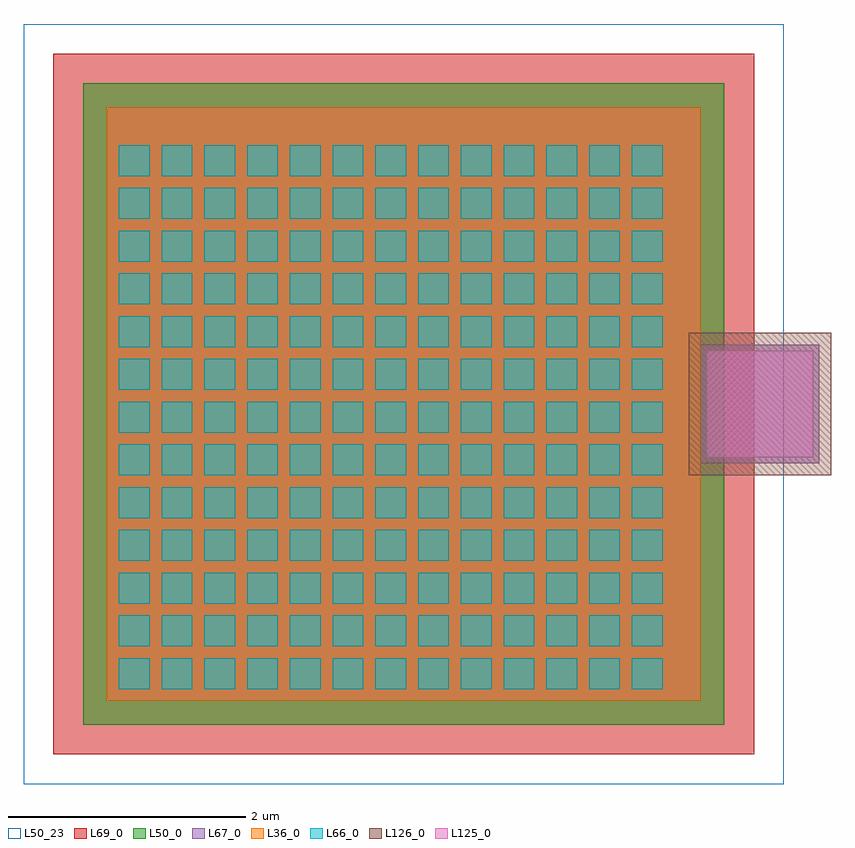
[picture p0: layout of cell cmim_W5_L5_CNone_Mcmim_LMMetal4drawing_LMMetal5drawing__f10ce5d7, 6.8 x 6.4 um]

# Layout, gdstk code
import gdstk
lib = gdstk.Library(unit=1e-6, precision=1e-09)
def R(c, l, rs):  # rectangles x0, y0, x1, y1
    for r in rs: c.add(gdstk.rectangle(r[:2], r[2:], *l))
L36_0 = (36, 0)
L50_0 = (50, 0)
L50_23 = (50, 23)
L66_0 = (66, 0)
L67_0 = (67, 0)
L69_0 = (69, 0)
L125_0 = (125, 0)
L126_0 = (126, 0)

rectangle_gdsfactorypcom = lib.new_cell('rectangle_gdsfactorypcomponentspshapesprectangle_S5p4_5_b63a100d')
R(rectangle_gdsfactorypcom, L50_0, [(-2.7,-2.7,2.7,2.7)])

c_rectangle_gdsfactorypcom = lib.new_cell('rectangle_gdsfactorypcomponentspshapesprectangle_S5_5_L_ae2a6a6b')
R(c_rectangle_gdsfactorypcom, L36_0, [(-2.5,-2.5,2.5,2.5)])

c_rectangle_gdsfactorypcom_ = lib.new_cell('rectangle_gdsfactorypcomponentspshapesprectangle_S5_5_L_c7f514b2')
R(c_rectangle_gdsfactorypcom_, L67_0, [(-2.5,-2.5,2.5,2.5)])

c_rectangle_gdsfactorypcom__ = lib.new_cell('rectangle_gdsfactorypcomponentspshapesprectangle_S0p26__4a819c78')
R(c_rectangle_gdsfactorypcom__, L66_0, [(-0.13,-0.13,0.13,0.13)])

c_rectangle_gdsfactorypcom___ = lib.new_cell('rectangle_gdsfactorypcomponentspshapesprectangle_S1p2_1_8ba3885d')
R(c_rectangle_gdsfactorypcom___, L50_0, [(0,0,1.2,1)])

c_rectangle_gdsfactorypcom____ = lib.new_cell('rectangle_gdsfactorypcomponentspshapesprectangle_S1_1_L_4ec315f6')
R(c_rectangle_gdsfactorypcom____, L67_0, [(0,0,1,1)])

c_rectangle_gdsfactorypcom_____ = lib.new_cell('rectangle_gdsfactorypcomponentspshapesprectangle_S0p9_0_580d79c8')
R(c_rectangle_gdsfactorypcom_____, L125_0, [(-0.45,-0.45,0.45,0.45)])

c_rectangle_gdsfactorypcom______ = lib.new_cell('rectangle_gdsfactorypcomponentspshapesprectangle_S1p2_1_e088ba0d')
R(c_rectangle_gdsfactorypcom______, L126_0, [(-0.6,-0.6,0.6,0.6)])

c_rectangle_gdsfactorypcom_______ = lib.new_cell('rectangle_gdsfactorypcomponentspshapesprectangle_S5p9_5_d3bec335')
R(c_rectangle_gdsfactorypcom_______, L69_0, [(-2.95,-2.95,2.95,2.95)])

c_rectangle_gdsfactorypcom________ = lib.new_cell('rectangle_gdsfactorypcomponentspshapesprectangle_S6p4_6_ee191b5b')
R(c_rectangle_gdsfactorypcom________, L50_23, [(-3.2,-3.2,3.2,3.2)])

cmim_w5_l5_cnone_mcmim_l = lib.new_cell('cmim_W5_L5_CNone_Mcmim_LMMetal4drawing_LMMetal5drawing__f10ce5d7')
cmim_w5_l5_cnone_mcmim_l.add(gdstk.Reference(rectangle_gdsfactorypcom, (0,0)))
cmim_w5_l5_cnone_mcmim_l.add(gdstk.Reference(c_rectangle_gdsfactorypcom, (0,0)))
cmim_w5_l5_cnone_mcmim_l.add(gdstk.Reference(c_rectangle_gdsfactorypcom_, (0,0)))
cmim_w5_l5_cnone_mcmim_l.add(gdstk.Reference(c_rectangle_gdsfactorypcom__, (-2.27,-0.11)))
cmim_w5_l5_cnone_mcmim_l.add(gdstk.Reference(c_rectangle_gdsfactorypcom__, (-1.91,-0.11)))
cmim_w5_l5_cnone_mcmim_l.add(gdstk.Reference(c_rectangle_gdsfactorypcom__, (-1.55,-0.11)))
cmim_w5_l5_cnone_mcmim_l.add(gdstk.Reference(c_rectangle_gdsfactorypcom__, (-1.19,-0.11)))
cmim_w5_l5_cnone_mcmim_l.add(gdstk.Reference(c_rectangle_gdsfactorypcom__, (-0.83,-0.11)))
cmim_w5_l5_cnone_mcmim_l.add(gdstk.Reference(c_rectangle_gdsfactorypcom__, (-0.47,-0.11)))
cmim_w5_l5_cnone_mcmim_l.add(gdstk.Reference(c_rectangle_gdsfactorypcom__, (-0.11,-0.11)))
cmim_w5_l5_cnone_mcmim_l.add(gdstk.Reference(c_rectangle_gdsfactorypcom__, (0.25,-2.27)))
cmim_w5_l5_cnone_mcmim_l.add(gdstk.Reference(c_rectangle_gdsfactorypcom__, (0.25,-1.91)))
cmim_w5_l5_cnone_mcmim_l.add(gdstk.Reference(c_rectangle_gdsfactorypcom__, (0.25,-1.55)))
cmim_w5_l5_cnone_mcmim_l.add(gdstk.Reference(c_rectangle_gdsfactorypcom__, (0.25,-1.19)))
cmim_w5_l5_cnone_mcmim_l.add(gdstk.Reference(c_rectangle_gdsfactorypcom__, (0.25,-0.83)))
cmim_w5_l5_cnone_mcmim_l.add(gdstk.Reference(c_rectangle_gdsfactorypcom__, (0.25,-0.47)))
cmim_w5_l5_cnone_mcmim_l.add(gdstk.Reference(c_rectangle_gdsfactorypcom__, (0.25,-0.11)))
cmim_w5_l5_cnone_mcmim_l.add(gdstk.Reference(c_rectangle_gdsfactorypcom__, (0.25,0.25)))
cmim_w5_l5_cnone_mcmim_l.add(gdstk.Reference(c_rectangle_gdsfactorypcom__, (0.25,0.61)))
cmim_w5_l5_cnone_mcmim_l.add(gdstk.Reference(c_rectangle_gdsfactorypcom__, (0.25,0.97)))
cmim_w5_l5_cnone_mcmim_l.add(gdstk.Reference(c_rectangle_gdsfactorypcom__, (0.25,1.33)))
cmim_w5_l5_cnone_mcmim_l.add(gdstk.Reference(c_rectangle_gdsfactorypcom__, (0.25,1.69)))
cmim_w5_l5_cnone_mcmim_l.add(gdstk.Reference(c_rectangle_gdsfactorypcom__, (0.25,2.05)))
cmim_w5_l5_cnone_mcmim_l.add(gdstk.Reference(c_rectangle_gdsfactorypcom__, (0.61,-0.11)))
cmim_w5_l5_cnone_mcmim_l.add(gdstk.Reference(c_rectangle_gdsfactorypcom__, (0.97,-0.11)))
cmim_w5_l5_cnone_mcmim_l.add(gdstk.Reference(c_rectangle_gdsfactorypcom__, (1.33,-0.11)))
cmim_w5_l5_cnone_mcmim_l.add(gdstk.Reference(c_rectangle_gdsfactorypcom__, (1.69,-0.11)))
cmim_w5_l5_cnone_mcmim_l.add(gdstk.Reference(c_rectangle_gdsfactorypcom__, (2.05,-0.11)))
cmim_w5_l5_cnone_mcmim_l.add(gdstk.Reference(c_rectangle_gdsfactorypcom___, (-2.7,-0.5)))
cmim_w5_l5_cnone_mcmim_l.add(gdstk.Reference(c_rectangle_gdsfactorypcom____, (2.5,-0.5)))
cmim_w5_l5_cnone_mcmim_l.add(gdstk.Reference(c_rectangle_gdsfactorypcom_____, (3,0)))
cmim_w5_l5_cnone_mcmim_l.add(gdstk.Reference(c_rectangle_gdsfactorypcom______, (3,0)))
cmim_w5_l5_cnone_mcmim_l.add(gdstk.Reference(c_rectangle_gdsfactorypcom_______, (0,0)))
cmim_w5_l5_cnone_mcmim_l.add(gdstk.Reference(c_rectangle_gdsfactorypcom________, (0,0)))
cmim_w5_l5_cnone_mcmim_l.add(gdstk.Reference(c_rectangle_gdsfactorypcom__, (0.97,1.33)))
cmim_w5_l5_cnone_mcmim_l.add(gdstk.Reference(c_rectangle_gdsfactorypcom__, (0.97,1.69)))
cmim_w5_l5_cnone_mcmim_l.add(gdstk.Reference(c_rectangle_gdsfactorypcom__, (0.97,2.05)))
cmim_w5_l5_cnone_mcmim_l.add(gdstk.Reference(c_rectangle_gdsfactorypcom__, (0.61,0.61)))
cmim_w5_l5_cnone_mcmim_l.add(gdstk.Reference(c_rectangle_gdsfactorypcom__, (1.33,0.25)))
cmim_w5_l5_cnone_mcmim_l.add(gdstk.Reference(c_rectangle_gdsfactorypcom__, (1.33,0.61)))
cmim_w5_l5_cnone_mcmim_l.add(gdstk.Reference(c_rectangle_gdsfactorypcom__, (1.33,0.97)))
cmim_w5_l5_cnone_mcmim_l.add(gdstk.Reference(c_rectangle_gdsfactorypcom__, (1.33,1.33)))
cmim_w5_l5_cnone_mcmim_l.add(gdstk.Reference(c_rectangle_gdsfactorypcom__, (1.33,1.69)))
cmim_w5_l5_cnone_mcmim_l.add(gdstk.Reference(c_rectangle_gdsfactorypcom__, (1.33,2.05)))
cmim_w5_l5_cnone_mcmim_l.add(gdstk.Reference(c_rectangle_gdsfactorypcom__, (0.61,0.97)))
cmim_w5_l5_cnone_mcmim_l.add(gdstk.Reference(c_rectangle_gdsfactorypcom__, (1.69,0.25)))
cmim_w5_l5_cnone_mcmim_l.add(gdstk.Reference(c_rectangle_gdsfactorypcom__, (1.69,0.61)))
cmim_w5_l5_cnone_mcmim_l.add(gdstk.Reference(c_rectangle_gdsfactorypcom__, (1.69,0.97)))
cmim_w5_l5_cnone_mcmim_l.add(gdstk.Reference(c_rectangle_gdsfactorypcom__, (1.69,1.33)))
cmim_w5_l5_cnone_mcmim_l.add(gdstk.Reference(c_rectangle_gdsfactorypcom__, (1.69,1.69)))
cmim_w5_l5_cnone_mcmim_l.add(gdstk.Reference(c_rectangle_gdsfactorypcom__, (1.69,2.05)))
cmim_w5_l5_cnone_mcmim_l.add(gdstk.Reference(c_rectangle_gdsfactorypcom__, (0.61,1.33)))
cmim_w5_l5_cnone_mcmim_l.add(gdstk.Reference(c_rectangle_gdsfactorypcom__, (2.05,0.25)))
cmim_w5_l5_cnone_mcmim_l.add(gdstk.Reference(c_rectangle_gdsfactorypcom__, (2.05,0.61)))
cmim_w5_l5_cnone_mcmim_l.add(gdstk.Reference(c_rectangle_gdsfactorypcom__, (2.05,0.97)))
cmim_w5_l5_cnone_mcmim_l.add(gdstk.Reference(c_rectangle_gdsfactorypcom__, (2.05,1.33)))
cmim_w5_l5_cnone_mcmim_l.add(gdstk.Reference(c_rectangle_gdsfactorypcom__, (2.05,1.69)))
cmim_w5_l5_cnone_mcmim_l.add(gdstk.Reference(c_rectangle_gdsfactorypcom__, (2.05,2.05)))
cmim_w5_l5_cnone_mcmim_l.add(gdstk.Reference(c_rectangle_gdsfactorypcom__, (0.61,1.69)))
cmim_w5_l5_cnone_mcmim_l.add(gdstk.Reference(c_rectangle_gdsfactorypcom__, (0.61,2.05)))
cmim_w5_l5_cnone_mcmim_l.add(gdstk.Reference(c_rectangle_gdsfactorypcom__, (0.61,0.25)))
cmim_w5_l5_cnone_mcmim_l.add(gdstk.Reference(c_rectangle_gdsfactorypcom__, (0.97,0.25)))
cmim_w5_l5_cnone_mcmim_l.add(gdstk.Reference(c_rectangle_gdsfactorypcom__, (0.97,0.61)))
cmim_w5_l5_cnone_mcmim_l.add(gdstk.Reference(c_rectangle_gdsfactorypcom__, (0.97,0.97)))
cmim_w5_l5_cnone_mcmim_l.add(gdstk.Reference(c_rectangle_gdsfactorypcom__, (-1.55,1.69)))
cmim_w5_l5_cnone_mcmim_l.add(gdstk.Reference(c_rectangle_gdsfactorypcom__, (-1.55,2.05)))
cmim_w5_l5_cnone_mcmim_l.add(gdstk.Reference(c_rectangle_gdsfactorypcom__, (-2.27,0.97)))
cmim_w5_l5_cnone_mcmim_l.add(gdstk.Reference(c_rectangle_gdsfactorypcom__, (-1.19,0.25)))
cmim_w5_l5_cnone_mcmim_l.add(gdstk.Reference(c_rectangle_gdsfactorypcom__, (-1.19,0.61)))
cmim_w5_l5_cnone_mcmim_l.add(gdstk.Reference(c_rectangle_gdsfactorypcom__, (-1.19,0.97)))
cmim_w5_l5_cnone_mcmim_l.add(gdstk.Reference(c_rectangle_gdsfactorypcom__, (-1.19,1.33)))
cmim_w5_l5_cnone_mcmim_l.add(gdstk.Reference(c_rectangle_gdsfactorypcom__, (-1.19,1.69)))
cmim_w5_l5_cnone_mcmim_l.add(gdstk.Reference(c_rectangle_gdsfactorypcom__, (-1.19,2.05)))
cmim_w5_l5_cnone_mcmim_l.add(gdstk.Reference(c_rectangle_gdsfactorypcom__, (-2.27,1.33)))
cmim_w5_l5_cnone_mcmim_l.add(gdstk.Reference(c_rectangle_gdsfactorypcom__, (-0.83,0.25)))
cmim_w5_l5_cnone_mcmim_l.add(gdstk.Reference(c_rectangle_gdsfactorypcom__, (-0.83,0.61)))
cmim_w5_l5_cnone_mcmim_l.add(gdstk.Reference(c_rectangle_gdsfactorypcom__, (-0.83,0.97)))
cmim_w5_l5_cnone_mcmim_l.add(gdstk.Reference(c_rectangle_gdsfactorypcom__, (-0.83,1.33)))
cmim_w5_l5_cnone_mcmim_l.add(gdstk.Reference(c_rectangle_gdsfactorypcom__, (-0.83,1.69)))
cmim_w5_l5_cnone_mcmim_l.add(gdstk.Reference(c_rectangle_gdsfactorypcom__, (-0.83,2.05)))
cmim_w5_l5_cnone_mcmim_l.add(gdstk.Reference(c_rectangle_gdsfactorypcom__, (-2.27,1.69)))
cmim_w5_l5_cnone_mcmim_l.add(gdstk.Reference(c_rectangle_gdsfactorypcom__, (-0.47,0.25)))
cmim_w5_l5_cnone_mcmim_l.add(gdstk.Reference(c_rectangle_gdsfactorypcom__, (-0.47,0.61)))
cmim_w5_l5_cnone_mcmim_l.add(gdstk.Reference(c_rectangle_gdsfactorypcom__, (-0.47,0.97)))
cmim_w5_l5_cnone_mcmim_l.add(gdstk.Reference(c_rectangle_gdsfactorypcom__, (-0.47,1.33)))
cmim_w5_l5_cnone_mcmim_l.add(gdstk.Reference(c_rectangle_gdsfactorypcom__, (-0.47,1.69)))
cmim_w5_l5_cnone_mcmim_l.add(gdstk.Reference(c_rectangle_gdsfactorypcom__, (-0.47,2.05)))
cmim_w5_l5_cnone_mcmim_l.add(gdstk.Reference(c_rectangle_gdsfactorypcom__, (-2.27,2.05)))
cmim_w5_l5_cnone_mcmim_l.add(gdstk.Reference(c_rectangle_gdsfactorypcom__, (-0.11,0.25)))
cmim_w5_l5_cnone_mcmim_l.add(gdstk.Reference(c_rectangle_gdsfactorypcom__, (-0.11,0.61)))
cmim_w5_l5_cnone_mcmim_l.add(gdstk.Reference(c_rectangle_gdsfactorypcom__, (-0.11,0.97)))
cmim_w5_l5_cnone_mcmim_l.add(gdstk.Reference(c_rectangle_gdsfactorypcom__, (-0.11,1.33)))
cmim_w5_l5_cnone_mcmim_l.add(gdstk.Reference(c_rectangle_gdsfactorypcom__, (-0.11,1.69)))
cmim_w5_l5_cnone_mcmim_l.add(gdstk.Reference(c_rectangle_gdsfactorypcom__, (-0.11,2.05)))
cmim_w5_l5_cnone_mcmim_l.add(gdstk.Reference(c_rectangle_gdsfactorypcom__, (-2.27,0.25)))
cmim_w5_l5_cnone_mcmim_l.add(gdstk.Reference(c_rectangle_gdsfactorypcom__, (-1.91,0.25)))
cmim_w5_l5_cnone_mcmim_l.add(gdstk.Reference(c_rectangle_gdsfactorypcom__, (-1.91,0.61)))
cmim_w5_l5_cnone_mcmim_l.add(gdstk.Reference(c_rectangle_gdsfactorypcom__, (-1.91,0.97)))
cmim_w5_l5_cnone_mcmim_l.add(gdstk.Reference(c_rectangle_gdsfactorypcom__, (-1.91,1.33)))
cmim_w5_l5_cnone_mcmim_l.add(gdstk.Reference(c_rectangle_gdsfactorypcom__, (-1.91,1.69)))
cmim_w5_l5_cnone_mcmim_l.add(gdstk.Reference(c_rectangle_gdsfactorypcom__, (-1.91,2.05)))
cmim_w5_l5_cnone_mcmim_l.add(gdstk.Reference(c_rectangle_gdsfactorypcom__, (-2.27,0.61)))
cmim_w5_l5_cnone_mcmim_l.add(gdstk.Reference(c_rectangle_gdsfactorypcom__, (-1.55,0.25)))
cmim_w5_l5_cnone_mcmim_l.add(gdstk.Reference(c_rectangle_gdsfactorypcom__, (-1.55,0.61)))
cmim_w5_l5_cnone_mcmim_l.add(gdstk.Reference(c_rectangle_gdsfactorypcom__, (-1.55,0.97)))
cmim_w5_l5_cnone_mcmim_l.add(gdstk.Reference(c_rectangle_gdsfactorypcom__, (-1.55,1.33)))
cmim_w5_l5_cnone_mcmim_l.add(gdstk.Reference(c_rectangle_gdsfactorypcom__, (-1.55,-0.47)))
cmim_w5_l5_cnone_mcmim_l.add(gdstk.Reference(c_rectangle_gdsfactorypcom__, (-1.91,-1.91)))
cmim_w5_l5_cnone_mcmim_l.add(gdstk.Reference(c_rectangle_gdsfactorypcom__, (-1.91,-1.55)))
cmim_w5_l5_cnone_mcmim_l.add(gdstk.Reference(c_rectangle_gdsfactorypcom__, (-1.91,-1.19)))
cmim_w5_l5_cnone_mcmim_l.add(gdstk.Reference(c_rectangle_gdsfactorypcom__, (-0.47,-2.27)))
cmim_w5_l5_cnone_mcmim_l.add(gdstk.Reference(c_rectangle_gdsfactorypcom__, (-0.47,-1.91)))
cmim_w5_l5_cnone_mcmim_l.add(gdstk.Reference(c_rectangle_gdsfactorypcom__, (-0.47,-1.55)))
cmim_w5_l5_cnone_mcmim_l.add(gdstk.Reference(c_rectangle_gdsfactorypcom__, (-0.47,-1.19)))
cmim_w5_l5_cnone_mcmim_l.add(gdstk.Reference(c_rectangle_gdsfactorypcom__, (-0.47,-0.83)))
cmim_w5_l5_cnone_mcmim_l.add(gdstk.Reference(c_rectangle_gdsfactorypcom__, (-0.47,-0.47)))
cmim_w5_l5_cnone_mcmim_l.add(gdstk.Reference(c_rectangle_gdsfactorypcom__, (-1.91,-0.83)))
cmim_w5_l5_cnone_mcmim_l.add(gdstk.Reference(c_rectangle_gdsfactorypcom__, (-1.91,-0.47)))
cmim_w5_l5_cnone_mcmim_l.add(gdstk.Reference(c_rectangle_gdsfactorypcom__, (-2.27,-1.91)))
cmim_w5_l5_cnone_mcmim_l.add(gdstk.Reference(c_rectangle_gdsfactorypcom__, (-2.27,-1.55)))
cmim_w5_l5_cnone_mcmim_l.add(gdstk.Reference(c_rectangle_gdsfactorypcom__, (-1.19,-2.27)))
cmim_w5_l5_cnone_mcmim_l.add(gdstk.Reference(c_rectangle_gdsfactorypcom__, (-1.19,-1.91)))
cmim_w5_l5_cnone_mcmim_l.add(gdstk.Reference(c_rectangle_gdsfactorypcom__, (-1.19,-1.55)))
cmim_w5_l5_cnone_mcmim_l.add(gdstk.Reference(c_rectangle_gdsfactorypcom__, (-0.11,-2.27)))
cmim_w5_l5_cnone_mcmim_l.add(gdstk.Reference(c_rectangle_gdsfactorypcom__, (-0.11,-1.91)))
cmim_w5_l5_cnone_mcmim_l.add(gdstk.Reference(c_rectangle_gdsfactorypcom__, (-0.11,-1.55)))
cmim_w5_l5_cnone_mcmim_l.add(gdstk.Reference(c_rectangle_gdsfactorypcom__, (-0.11,-1.19)))
cmim_w5_l5_cnone_mcmim_l.add(gdstk.Reference(c_rectangle_gdsfactorypcom__, (-0.11,-0.83)))
cmim_w5_l5_cnone_mcmim_l.add(gdstk.Reference(c_rectangle_gdsfactorypcom__, (-0.11,-0.47)))
cmim_w5_l5_cnone_mcmim_l.add(gdstk.Reference(c_rectangle_gdsfactorypcom__, (-1.19,-1.19)))
cmim_w5_l5_cnone_mcmim_l.add(gdstk.Reference(c_rectangle_gdsfactorypcom__, (-1.19,-0.83)))
cmim_w5_l5_cnone_mcmim_l.add(gdstk.Reference(c_rectangle_gdsfactorypcom__, (-1.19,-0.47)))
cmim_w5_l5_cnone_mcmim_l.add(gdstk.Reference(c_rectangle_gdsfactorypcom__, (-2.27,-1.19)))
cmim_w5_l5_cnone_mcmim_l.add(gdstk.Reference(c_rectangle_gdsfactorypcom__, (-2.27,-0.83)))
cmim_w5_l5_cnone_mcmim_l.add(gdstk.Reference(c_rectangle_gdsfactorypcom__, (-2.27,-0.47)))
cmim_w5_l5_cnone_mcmim_l.add(gdstk.Reference(c_rectangle_gdsfactorypcom__, (-2.27,-2.27)))
cmim_w5_l5_cnone_mcmim_l.add(gdstk.Reference(c_rectangle_gdsfactorypcom__, (-1.91,-2.27)))
cmim_w5_l5_cnone_mcmim_l.add(gdstk.Reference(c_rectangle_gdsfactorypcom__, (-1.55,-2.27)))
cmim_w5_l5_cnone_mcmim_l.add(gdstk.Reference(c_rectangle_gdsfactorypcom__, (-1.55,-1.91)))
cmim_w5_l5_cnone_mcmim_l.add(gdstk.Reference(c_rectangle_gdsfactorypcom__, (-0.83,-2.27)))
cmim_w5_l5_cnone_mcmim_l.add(gdstk.Reference(c_rectangle_gdsfactorypcom__, (-0.83,-1.91)))
cmim_w5_l5_cnone_mcmim_l.add(gdstk.Reference(c_rectangle_gdsfactorypcom__, (-0.83,-1.55)))
cmim_w5_l5_cnone_mcmim_l.add(gdstk.Reference(c_rectangle_gdsfactorypcom__, (-0.83,-1.19)))
cmim_w5_l5_cnone_mcmim_l.add(gdstk.Reference(c_rectangle_gdsfactorypcom__, (-0.83,-0.83)))
cmim_w5_l5_cnone_mcmim_l.add(gdstk.Reference(c_rectangle_gdsfactorypcom__, (-0.83,-0.47)))
cmim_w5_l5_cnone_mcmim_l.add(gdstk.Reference(c_rectangle_gdsfactorypcom__, (-1.55,-1.55)))
cmim_w5_l5_cnone_mcmim_l.add(gdstk.Reference(c_rectangle_gdsfactorypcom__, (-1.55,-1.19)))
cmim_w5_l5_cnone_mcmim_l.add(gdstk.Reference(c_rectangle_gdsfactorypcom__, (-1.55,-0.83)))
cmim_w5_l5_cnone_mcmim_l.add(gdstk.Reference(c_rectangle_gdsfactorypcom__, (1.69,-1.55)))
cmim_w5_l5_cnone_mcmim_l.add(gdstk.Reference(c_rectangle_gdsfactorypcom__, (1.69,-1.19)))
cmim_w5_l5_cnone_mcmim_l.add(gdstk.Reference(c_rectangle_gdsfactorypcom__, (1.69,-0.83)))
cmim_w5_l5_cnone_mcmim_l.add(gdstk.Reference(c_rectangle_gdsfactorypcom__, (1.69,-0.47)))
cmim_w5_l5_cnone_mcmim_l.add(gdstk.Reference(c_rectangle_gdsfactorypcom__, (0.61,-1.19)))
cmim_w5_l5_cnone_mcmim_l.add(gdstk.Reference(c_rectangle_gdsfactorypcom__, (0.61,-0.83)))
cmim_w5_l5_cnone_mcmim_l.add(gdstk.Reference(c_rectangle_gdsfactorypcom__, (0.61,-0.47)))
cmim_w5_l5_cnone_mcmim_l.add(gdstk.Reference(c_rectangle_gdsfactorypcom__, (0.61,-2.27)))
cmim_w5_l5_cnone_mcmim_l.add(gdstk.Reference(c_rectangle_gdsfactorypcom__, (0.97,-2.27)))
cmim_w5_l5_cnone_mcmim_l.add(gdstk.Reference(c_rectangle_gdsfactorypcom__, (1.33,-2.27)))
cmim_w5_l5_cnone_mcmim_l.add(gdstk.Reference(c_rectangle_gdsfactorypcom__, (1.33,-1.91)))
cmim_w5_l5_cnone_mcmim_l.add(gdstk.Reference(c_rectangle_gdsfactorypcom__, (2.05,-2.27)))
cmim_w5_l5_cnone_mcmim_l.add(gdstk.Reference(c_rectangle_gdsfactorypcom__, (2.05,-1.91)))
cmim_w5_l5_cnone_mcmim_l.add(gdstk.Reference(c_rectangle_gdsfactorypcom__, (2.05,-1.55)))
cmim_w5_l5_cnone_mcmim_l.add(gdstk.Reference(c_rectangle_gdsfactorypcom__, (2.05,-1.19)))
cmim_w5_l5_cnone_mcmim_l.add(gdstk.Reference(c_rectangle_gdsfactorypcom__, (2.05,-0.83)))
cmim_w5_l5_cnone_mcmim_l.add(gdstk.Reference(c_rectangle_gdsfactorypcom__, (2.05,-0.47)))
cmim_w5_l5_cnone_mcmim_l.add(gdstk.Reference(c_rectangle_gdsfactorypcom__, (1.33,-1.55)))
cmim_w5_l5_cnone_mcmim_l.add(gdstk.Reference(c_rectangle_gdsfactorypcom__, (1.33,-1.19)))
cmim_w5_l5_cnone_mcmim_l.add(gdstk.Reference(c_rectangle_gdsfactorypcom__, (1.33,-0.83)))
cmim_w5_l5_cnone_mcmim_l.add(gdstk.Reference(c_rectangle_gdsfactorypcom__, (1.33,-0.47)))
cmim_w5_l5_cnone_mcmim_l.add(gdstk.Reference(c_rectangle_gdsfactorypcom__, (0.97,-1.91)))
cmim_w5_l5_cnone_mcmim_l.add(gdstk.Reference(c_rectangle_gdsfactorypcom__, (0.97,-1.55)))
cmim_w5_l5_cnone_mcmim_l.add(gdstk.Reference(c_rectangle_gdsfactorypcom__, (0.97,-1.19)))
cmim_w5_l5_cnone_mcmim_l.add(gdstk.Reference(c_rectangle_gdsfactorypcom__, (0.97,-0.83)))
cmim_w5_l5_cnone_mcmim_l.add(gdstk.Reference(c_rectangle_gdsfactorypcom__, (0.97,-0.47)))
cmim_w5_l5_cnone_mcmim_l.add(gdstk.Reference(c_rectangle_gdsfactorypcom__, (0.61,-1.91)))
cmim_w5_l5_cnone_mcmim_l.add(gdstk.Reference(c_rectangle_gdsfactorypcom__, (0.61,-1.55)))
cmim_w5_l5_cnone_mcmim_l.add(gdstk.Reference(c_rectangle_gdsfactorypcom__, (1.69,-2.27)))
cmim_w5_l5_cnone_mcmim_l.add(gdstk.Reference(c_rectangle_gdsfactorypcom__, (1.69,-1.91)))

lib.write_gds('cmim_W5_L5_CNone_Mcmim_LMMetal4drawing_LMMetal5drawing__f10ce5d7.gds')
